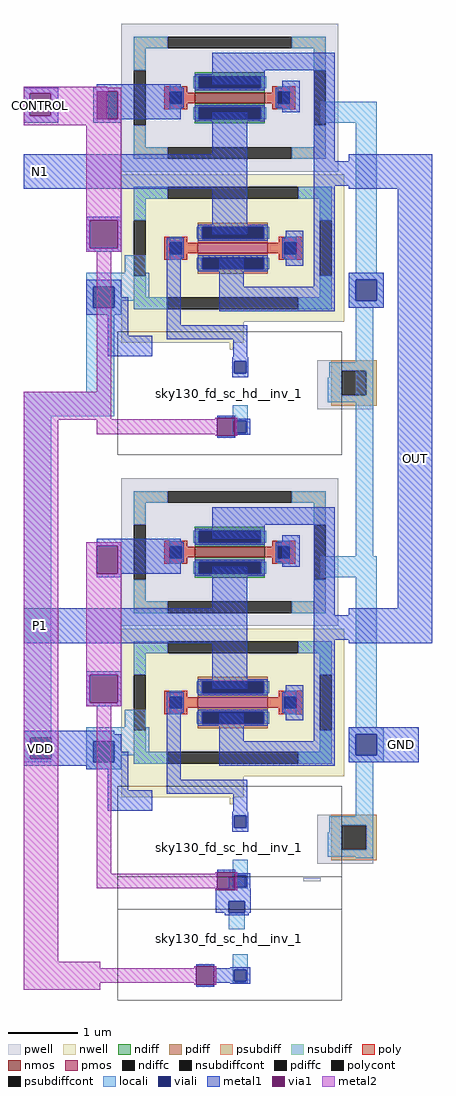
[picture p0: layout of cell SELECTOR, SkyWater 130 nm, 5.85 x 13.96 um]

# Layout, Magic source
magic
tech sky130A
magscale 1 2
<< pwell >>
rect 2320 -1660 2370 -1650
<< locali >>
rect 1700 -260 1780 60
rect 1520 -330 1780 -260
rect 1520 -1250 1600 -330
rect 2470 -790 2520 -160
rect 1520 -1310 1540 -1250
rect 1520 -1320 1600 -1310
rect 2107 -1798 2153 -1751
rect 2119 -1913 2161 -1869
rect 2119 -1947 2123 -1913
rect 2157 -1947 2161 -1913
rect 2119 -1951 2161 -1947
<< viali >>
rect 1540 -1310 1600 -1250
rect 2107 -1751 2153 -1717
rect 2123 -1947 2157 -1913
<< metal1 >>
rect 1520 594 1620 610
rect 1520 530 1538 594
rect 1598 530 1620 594
rect 1520 510 1620 530
rect 1720 510 1800 610
rect 1520 320 1780 420
rect 2550 320 2690 420
rect 2590 -880 2690 320
rect 1520 -980 1700 -880
rect 2530 -980 2690 -880
rect 1520 -1250 1780 -1230
rect 1520 -1310 1540 -1250
rect 1600 -1310 1780 -1250
rect 1520 -1330 1780 -1310
rect 2550 -1320 2650 -1220
rect 2107 -1680 2153 -1647
rect 2070 -1717 2170 -1680
rect 2070 -1750 2107 -1717
rect 2095 -1751 2107 -1750
rect 2153 -1750 2170 -1717
rect 2153 -1751 2165 -1750
rect 2095 -1757 2165 -1751
rect 2014 -1904 2066 -1898
rect 2111 -1909 2169 -1907
rect 2066 -1913 2169 -1909
rect 2066 -1947 2123 -1913
rect 2157 -1947 2169 -1913
rect 2066 -1951 2169 -1947
rect 2111 -1953 2169 -1951
rect 2014 -1962 2066 -1956
<< via1 >>
rect 1538 530 1598 594
rect 2014 -1956 2066 -1904
<< metal2 >>
rect 1520 594 1760 612
rect 1520 530 1538 594
rect 1598 530 1760 594
rect 1520 502 1760 530
rect 1520 -340 1740 -260
rect 1520 -1890 1620 -340
rect 1520 -1909 1740 -1890
rect 2008 -1909 2014 -1904
rect 1520 -1951 2014 -1909
rect 1520 -1970 1740 -1951
rect 2008 -1956 2014 -1951
rect 2066 -1956 2072 -1904
use transmition_gate  x1
transform 1 0 700 0 1 1040
box 1000 -1480 1850 -248
use transmition_gate  x2
transform 1 0 700 0 1 -260
box 1000 -1480 1850 -248
use sky130_fd_sc_hd__inv_1  x3 $PDKPATH/libs.ref/sky130_fd_sc_hd/mag
transform 0 -1 2382 1 0 -1962
box -38 -48 314 592
<< labels >>
flabel metal1 1520 320 1620 420 0 FreeSans 400 0 0 0 N1
port 1 nsew
flabel metal1 2590 -500 2690 -400 0 FreeSans 400 0 0 0 OUT
port 2 nsew
flabel metal1 2550 -1320 2650 -1220 0 FreeSans 400 0 0 0 GND
port 5 nsew
flabel metal1 1520 -1330 1620 -1230 0 FreeSans 400 0 0 0 VDD
port 4 nsew
flabel metal1 1520 510 1620 610 0 FreeSans 400 0 0 0 CONTROL
port 0 nsew
flabel metal1 1520 -980 1620 -880 0 FreeSans 400 0 0 0 P1
port 3 nsew
<< end >>

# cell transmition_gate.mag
magic
tech sky130A
magscale 1 2
<< nwell >>
rect 1100 -1100 1420 -1090
rect 1100 -1160 1450 -1100
rect 1410 -1180 1420 -1160
<< pwell >>
rect 1660 -1350 1820 -1210
<< psubdiff >>
rect 1700 -1240 1830 -1210
rect 1700 -1310 1730 -1240
rect 1800 -1310 1830 -1240
rect 1700 -1340 1830 -1310
<< psubdiffcont >>
rect 1730 -1310 1800 -1240
<< locali >>
rect 1670 -530 1830 -470
rect 1110 -960 1170 -910
rect 1770 -960 1830 -530
rect 1000 -1000 1180 -960
rect 1000 -1060 1020 -1000
rect 1080 -1040 1180 -1000
rect 1750 -980 1850 -960
rect 1750 -1040 1770 -980
rect 1830 -1040 1850 -980
rect 1080 -1060 1100 -1040
rect 1750 -1060 1850 -1040
rect 1000 -1080 1100 -1060
rect 1770 -1215 1820 -1060
rect 1695 -1240 1820 -1215
rect 1695 -1260 1730 -1240
rect 1690 -1310 1730 -1260
rect 1800 -1310 1820 -1240
rect 1690 -1330 1820 -1310
rect 1770 -1335 1820 -1330
rect 1419 -1383 1461 -1339
rect 1419 -1417 1423 -1383
rect 1457 -1417 1461 -1383
rect 1419 -1421 1461 -1417
<< viali >>
rect 1020 -1060 1080 -1000
rect 1770 -1040 1830 -980
rect 1423 -1247 1457 -1213
rect 1423 -1417 1457 -1383
<< metal1 >>
rect 1360 -380 1710 -330
rect 1360 -420 1510 -380
rect 1030 -440 1270 -420
rect 1090 -520 1270 -440
rect 1560 -500 1610 -410
rect 1030 -530 1100 -520
rect 1360 -620 1460 -500
rect 1000 -720 1460 -620
rect 1000 -810 1100 -800
rect 1000 -890 1010 -810
rect 1090 -890 1100 -810
rect 1360 -850 1460 -720
rect 1650 -640 1710 -380
rect 1750 -640 1850 -620
rect 1650 -710 1850 -640
rect 1000 -900 1100 -890
rect 1000 -1000 1100 -980
rect 1000 -1060 1020 -1000
rect 1080 -1030 1100 -1000
rect 1080 -1060 1120 -1030
rect 1000 -1080 1120 -1060
rect 1061 -1140 1120 -1080
rect 1230 -1110 1270 -860
rect 1380 -1000 1450 -920
rect 1570 -940 1620 -840
rect 1650 -1000 1710 -710
rect 1750 -720 1850 -710
rect 1380 -1070 1710 -1000
rect 1750 -980 1850 -960
rect 1750 -1040 1770 -980
rect 1830 -1040 1850 -980
rect 1750 -1060 1850 -1040
rect 1061 -1199 1189 -1140
rect 1230 -1150 1460 -1110
rect 1420 -1201 1460 -1150
rect 1417 -1213 1463 -1201
rect 1417 -1247 1423 -1213
rect 1457 -1247 1463 -1213
rect 1417 -1259 1463 -1247
rect 1374 -1374 1426 -1368
rect 1426 -1383 1469 -1377
rect 1457 -1417 1469 -1383
rect 1426 -1423 1469 -1417
rect 1374 -1432 1426 -1426
<< via1 >>
rect 1030 -520 1090 -440
rect 1010 -890 1090 -810
rect 1374 -1383 1426 -1374
rect 1374 -1417 1423 -1383
rect 1423 -1417 1426 -1383
rect 1374 -1426 1426 -1417
<< metal2 >>
rect 1000 -440 1100 -430
rect 1000 -520 1030 -440
rect 1090 -520 1100 -440
rect 1000 -810 1100 -520
rect 1000 -890 1010 -810
rect 1090 -890 1100 -810
rect 1000 -900 1100 -890
rect 1029 -1379 1071 -900
rect 1368 -1379 1374 -1374
rect 1029 -1421 1374 -1379
rect 1368 -1426 1374 -1421
rect 1426 -1426 1432 -1374
use sky130_fd_sc_hd__inv_1  x1 $PDKPATH/libs.ref/sky130_fd_sc_hd/mag
transform 0 -1 1682 1 0 -1442
box -38 -48 314 592
use sky130_fd_pr__pfet_01v8_7HN6Y2  XM2
transform 0 1 1419 -1 0 -889
box -211 -319 211 319
use sky130_fd_pr__nfet_01v8_34VMYE  XM3
transform 0 1 1410 -1 0 -459
box -211 -310 211 310
<< labels >>
flabel metal1 1000 -720 1100 -620 0 FreeSans 160 0 0 0 IN
port 2 nsew
flabel metal1 1000 -900 1100 -800 0 FreeSans 160 0 0 0 CONTROL
port 0 nsew
flabel metal1 1750 -720 1850 -620 0 FreeSans 160 0 0 0 OUT
port 1 nsew
flabel metal1 1750 -1060 1760 -960 0 FreeSans 160 0 0 0 GND
port 4 nsew
flabel metal1 1000 -1080 1070 -980 0 FreeSans 160 0 0 0 VDD
port 3 nsew
<< end >>

# cell sky130_fd_pr__pfet_01v8_7HN6Y2: kit device sky130_fd_pr__pfet_01v8, w 1.0 l 0.15 m 1 nf 1 diffcov 100 polycov 100 guard 1 glc 1 grc 1 gtc 1 gbc 1 tbcov 100 rlcov 100 topc 1 botc 1 poverlap 0 doverlap 1 lmin 0.15 wmin 0.42 class mosfet compatible {sky130_fd_pr__pfet_01v8 sky130_fd_pr__pfet_01v8_lvt sky130_fd_pr__pfet_01v8_hvt sky130_fd_pr__pfet_g5v0d10v5} full_metal 1 conn_gates 0 viasrc 100 viadrn 100 viagate 100 viagb 0 viagr 0 viagl 0 viagt 0 doports 1

# cell sky130_fd_pr__nfet_01v8_34VMYE: kit device sky130_fd_pr__nfet_01v8, w 1.0 l 0.15 m 1 nf 1 diffcov 100 polycov 100 guard 1 glc 1 grc 1 gtc 1 gbc 1 tbcov 100 rlcov 100 topc 1 botc 1 poverlap 0 doverlap 1 lmin 0.15 wmin 0.42 class mosfet compatible {sky130_fd_pr__nfet_01v8 sky130_fd_pr__nfet_01v8_lvt sky130_fd_bs_flash__special_sonosfet_star sky130_fd_pr__nfet_g5v0d10v5 sky130_fd_pr__nfet_05v0_nvt sky130_fd_pr__nfet_03v3_nvt} full_metal 1 conn_gates 0 viasrc 100 viadrn 100 viagate 100 viagb 0 viagr 0 viagl 0 viagt 0 doports 1
